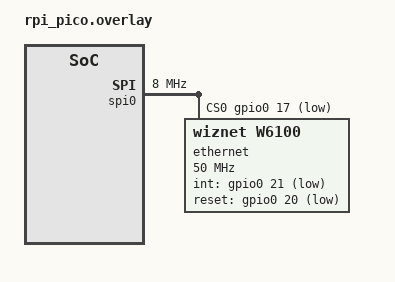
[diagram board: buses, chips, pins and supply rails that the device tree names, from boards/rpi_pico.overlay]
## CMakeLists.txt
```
# SPDX-License-Identifier: Apache-2.0

cmake_minimum_required(VERSION 3.20.0)
find_package(Zephyr REQUIRED HINTS $ENV{ZEPHYR_BASE})
project(EscapeRoom)

target_include_directories(app PRIVATE ${ZEPHYR_BASE}/drivers/input)


target_include_directories(app PRIVATE inc)
FILE(GLOB app_sources src/*.c src/*.cpp)
# target_sources(app PRIVATE src/main.c)
target_sources(app PRIVATE ${app_sources})
# target_sources(app PRIVATE src/usart.c src/queues.c)

#optimizain disable begin
# add_library(set-app-flags INTERFACE)
# target_compile_options(set-app-flags INTERFACE -O0)
# target_link_libraries(app PRIVATE set-app-flags)
#optimizain disable end

#begin for dns resolver
include(${ZEPHYR_BASE}/samples/net/common/common.cmake)
#end for dns resolver
#begin for usb
include(${ZEPHYR_BASE}/samples/subsys/usb/common/common.cmake)
#end for usb
# list(REMOVE_ITEM app_sources ${CMAKE_CURRENT_SOURCE_DIR}/src/unwanted_file.cpp)

#begin rgb driver

# zephyr_library_sources_ifdef(CONFIG_TCS34725		${CMAKE_CURRENT_SOURCE_DIR}/drivers/tcs34725.c)
# zephyr_include_directories(include)

add_subdirectory(drivers)
#end rgb driver

#begin mcuboot
# set(mcuboot_DTC_OVERLAY_FILE ${CMAKE_CURRENT_SOURCE_DIR}/boards/${BOARD}.overlay)
# zephyr_include_directories(${ZEPHYR_BASE}/subsys/dfu)
#end mcuboot
```

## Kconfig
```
menu "Escape Room"
config INPUT_KBD_DRIVE_COLUMN_HOOK
	default n

config MQTT_SUB_TOPIC
	string "MQTT subscribe topic"
	default "subscribe/escapeRoom"


config NET_SAMPLE_APP_MAX_ITERATIONS
	int "Number of times to Publish sample MQTT messages"
	default 500
	help
	  Send sample MQTT messages this many times in a MQTT connection
	  before exiting. A value of zero means that the messages are sent
	  forever.

config NET_SAMPLE_APP_MAX_CONNECTIONS
	int "Number of times to connect to the MQTT server"
	default 0
	help
	  Number of times to connect to the MQTT server. With each connection
	  send NET_SAMPLE_APP_MAX_ITERATIONS amount of MQTT sample messages.
	  A value of zero means to continue forever.

config SHIELD_BUYDISPLAY_3_5_TFT_TOUCH_ARDUINO
	def_bool $(shields_list_contains,buydisplay_3_5_tft_touch_arduino)

endmenu
# source "samples/subsys/usb/common/Kconfig.sample_usbd"
source "Kconfig.zephyr"
rsource "drivers/Kconfig"
# source "drivers/tcs34725/Kconfig"
```

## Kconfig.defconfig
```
# Copyright (c) 2020 Teslabs Engineering S.L.
# SPDX-License-Identifier: Apache-2.0

if SHIELD_BUYDISPLAY_3_5_TFT_TOUCH_ARDUINO

if DISPLAY

if INPUT

# NOTE: Enable if IRQ line is available (requires to solder jumper)
config INPUT_FT5336_INTERRUPT
	default n

endif # INPUT

if LVGL

config LV_Z_VDB_SIZE
	default 32

config LV_Z_BITS_PER_PIXEL
	default 24

choice LV_COLOR_DEPTH
	default LV_COLOR_DEPTH_16
endchoice

config INPUT
	default y

endif # LVGL

endif # DISPLAY

endif # SHIELD_BUYDISPLAY_3_5_TFT_TOUCH_ARDUINO
```

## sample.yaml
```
sample:
  name: ISO-TP sample
tests:
  sample.subsys.canbus.isotp:
    tags:
      - can
      - isotp
    depends_on: can
    filter: dt_chosen_enabled("zephyr,canbus") and not dt_compat_enabled("kvaser,pcican")
    extra_configs:
      - CONFIG_SAMPLE_LOOPBACK_MODE=y
    harness: console
    harness_config:
      type: one_line
      regex:
        - "(.*)Got 247 bytes in total"
  sample.subsys.canbus.isotp.fd:
    tags:
      - can
      - isotp
    depends_on: can
    extra_configs:
      - CONFIG_SAMPLE_LOOPBACK_MODE=y
      - CONFIG_SAMPLE_CAN_FD_MODE=y
    platform_allow:
      - native_posix
      - native_posix_64
      - native_sim
      - native_sim_64
    harness: console
    harness_config:
      type: one_line
      regex:
        - "(.*)Got 247 bytes in total"
```

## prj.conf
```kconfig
CONFIG_STDOUT_CONSOLE=y
CONFIG_LOG=y
CONFIG_LOG_MODE_IMMEDIATE=y
CONFIG_THREAD_ANALYZER=y
# CONFIG_THREAD_ANALYZER_AUTO=y
# CONFIG_THREAD_ANALYZER_AUTO_INTERVAL=5
# CONFIG_THREAD_ANALYZER_AUTO_STACK_SIZE=4096
CONFIG_THREAD_NAME=y
# CONFIG_MAIN_THREAD_PRIORITY=1
CONFIG_MAIN_STACK_SIZE=4096
# CONFIG_MAIN_STACK_SIZE=2048

# Enable IPv6 support
CONFIG_NET_IPV6=n
# Enable IPv4 support
CONFIG_NET_IPV4=y

# Networking and MQTT
CONFIG_NETWORKING=y
CONFIG_NET_SOCKETS=y
CONFIG_NET_TCP=y
CONFIG_NET_LOG=y

# Enable the MQTT Lib
CONFIG_MQTT_LIB=y

CONFIG_NET_CONFIG_SETTINGS=n

# For IPv6
CONFIG_NET_BUF_DATA_SIZE=256

CONFIG_NET_SHELL=y

CONFIG_ENTROPY_GENERATOR=y
CONFIG_TEST_RANDOM_GENERATOR=y

# DHCP configurations
CONFIG_NET_UDP=y
CONFIG_NET_DHCPV4=y
CONFIG_NET_DHCPV4_OPTION_CALLBACKS=y

CONFIG_INIT_STACKS=y
CONFIG_NET_MGMT_EVENT_INFO=y
CONFIG_NET_MGMT=y
CONFIG_NET_MGMT_EVENT_STACK_SIZE=2048
CONFIG_NET_MGMT_EVENT=y
CONFIG_SLIP_STATISTICS=n

# # DNS resolver configurations
# CONFIG_ZVFS_POLL_MAX=5
# CONFIG_ZVFS_OPEN_MAX=8
# ##########################################
# # Enable the DNS resolver
# CONFIG_DNS_RESOLVER=y
# # Enable additional buffers
# CONFIG_DNS_RESOLVER_ADDITIONAL_BUF_CTR=5
# # Enable additional queries
# CONFIG_DNS_RESOLVER_ADDITIONAL_QUERIES=2
# # Enable mDNS support
# CONFIG_MDNS_RESOLVER=y
# # Enable LLMNR support
# CONFIG_LLMNR_RESOLVER=n
# CONFIG_DNS_RESOLVER_MAX_SERVERS=2
# CONFIG_DNS_SERVER_IP_ADDRESSES=y
# CONFIG_DNS_NUM_CONCUR_QUERIES=5
# CONFIG_NET_SOCKETS_SERVICE_STACK_SIZE=2048

# General configurations
CONFIG_STACK_SENTINEL=y
CONFIG_NET_SOCKETS_POLL_MAX=4
CONFIG_POSIX_API=y
CONFIG_REQUIRES_FULL_LIBC=y
CONFIG_SYSTEM_WORKQUEUE_STACK_SIZE=4096
CONFIG_KERNEL_MEM_POOL=y
# CONFIG_HEAP_MEM_POOL_SIZE= 60000
# CONFIG_HEAP_MEM_POOL_SIZE=31744
# CONFIG_HEAP_MEM_POOL_SIZE= 45056

# CONFIG_CONSOLE_INIT_PRIORITY=40
# CONFIG_SERIAL_INIT_PRIORITY=40

# Configurations for shell and tracing
CONFIG_SHELL_STACK_SIZE=2048
CONFIG_IDLE_STACK_SIZE=1500

# JSON library
# CONFIG_JSON_LIBRARY=y

# Enable C++ support
CONFIG_CPP=y
CONFIG_REQUIRES_FULL_LIBCPP=y

# PWM driver
CONFIG_PWM=y
CONFIG_PWM_LOG_LEVEL_DBG=y

# Input device configuration
CONFIG_INPUT=y
CONFIG_INPUT_MODE_THREAD=y
CONFIG_INPUT_THREAD_STACK_SIZE=2048
# CONFIG_INPUT_MODE_SYNCHRONOUS=y

# Display configurations

CONFIG_LV_Z_AUTO_INIT=n
CONFIG_LV_Z_SHELL=y
CONFIG_DISPLAY=y
CONFIG_DISPLAY_LOG_LEVEL_DBG=n
# CONFIG_LV_LOG_LEVEL=3
CONFIG_LV_LOG_PRINTF=y
CONFIG_LVGL=y
CONFIG_LV_USE_LOG=n
CONFIG_LV_USE_IMAGE=y
CONFIG_LV_Z_MEM_POOL_SIZE=16384
CONFIG_LV_FONT_DEFAULT_MONTSERRAT_48=y
CONFIG_LV_FONT_MONTSERRAT_30=y
# CONFIG_SYS_HEAP_RUNTIME_STATS=y


#sd card begin

CONFIG_FILE_SYSTEM=y
# CONFIG_FILE_SYSTEM_EXT2=y

CONFIG_FAT_FILESYSTEM_ELM=y


CONFIG_DISK_ACCESS=y
CONFIG_DISK_DRIVER_SDMMC=y
# First block of first partition after GPT


# CONFIG_FS_FATFS_EXFAT=y

#sd card end

# Flash and memory configurations
CONFIG_FLASH=y
CONFIG_NVS=y
CONFIG_NVS_LOG_LEVEL_DBG=y
CONFIG_REBOOT=y
CONFIG_MPU_ALLOW_FLASH_WRITE=y


# Hardware information
CONFIG_HWINFO=y

# LED strip
CONFIG_LED_STRIP=y
CONFIG_GPIO=y

# GPIO key input
CONFIG_INPUT_GPIO_KEYS=y

# Sensor configuration
CONFIG_SENSOR=y

# General LED support
CONFIG_LED=y

# ADC driver
CONFIG_ADC=y

# HX711 ADC
# CONFIG_HX711=y

# Network configuration
CONFIG_NET_MAX_CONN=8

# I2C multiplexer
CONFIG_I2C=y
CONFIG_I2C_TCA954X=y
CONFIG_I2C_TCA954X_ROOT_INIT_PRIO= 80
CONFIG_I2C_TCA954X_CHANNEL_INIT_PRIO=82



CONFIG_THREAD_STACK_INFO=y
CONFIG_THREAD_MONITOR=y
CONFIG_INIT_STACKS=y


CONFIG_LOG_MODE_IMMEDIATE=y
CONFIG_THREAD_NAME=y
CONFIG_DEBUG=y


# CONFIG_I2C_LOG_LEVEL_DBG=y


#sn74hc595 shift register begin
CONFIG_SPI=y
CONFIG_GPIO_595=y
#sn74hc595 shift register end


#watch dog begin
CONFIG_WATCHDOG=y
CONFIG_WDT_DISABLE_AT_BOOT=y
#watch dog end

#pca9685 begin
CONFIG_I2C=y
CONFIG_I2C_ESP32=y
CONFIG_PWM=y
CONFIG_PWM_PCA9685=y
#pca end


#begin mcuboot dfu
# CONFIG_MCUBOOT_SIGNATURE_KEY_FILE="zephyr/EscapeRoom/CCM-rsa-2048.pem"
# CONFIG_MCUBOOT_GENERATE_CONFIRMED_IMAGE=y
# CONFIG_MCUBOOT_EXTRA_IMGTOOL_ARGS="--align 4"
# CONFIG_MCUBOOT_GENERATE_UNSIGNED_IMAGE=n

# CONFIG_FLASH=y
# CONFIG_FLASH_MAP=y
# CONFIG_IMG_MANAGER=y
# CONFIG_IMG_ERASE_PROGRESSIVELY=y
# CONFIG_BOOTLOADER_MCUBOOT=y  # If using MCUboot
# CONFIG_IMG_ENABLE_IMAGE_CHECK=y

# CONFIG_MCUBOOT_IMG_MANAGER=y
# CONFIG_IMG_MANAGER=y
# CONFIG_BOOTLOADER_MCUBOOT=y
# CONFIG_IMG_ERASE_PROGRESSIVELY=y
# CONFIG_IMG_BLOCK_BUF_SIZE=512

# CONFIG_STREAM_FLASH=y
#end mcuboot dfu


#begin http client
CONFIG_HTTP_CLIENT=y

# CONFIG_ZVFS_POLL_MAX=5
# # Network buffers
# CONFIG_NET_PKT_RX_COUNT=16
CONFIG_NET_PKT_TX_COUNT=20
# CONFIG_NET_BUF_RX_COUNT=128
CONFIG_NET_BUF_TX_COUNT=128
CONFIG_NET_CONTEXT_NET_PKT_POOL=y
CONFIG_NET_TX_STACK_SIZE=2048
# CONFIG_LOG=y
# CONFIG_NET_LOG=y
# CONFIG_NET_SOCKETS_LOG_LEVEL_DBG=n
# CONFIG_NET_HTTP_LOG_LEVEL_DBG=n
#end http client



#begin vl6180x
# CONFIG_VL6180X=y
# CONFIG_VL6180X_PROXIMITY_THRESHOLD=100
# CONFIG_VL53L0X=y
# CONFIG_VL53L0X_PROXIMITY_THRESHOLD=100
CONFIG_CBPRINTF_FP_SUPPORT=y
#end vl6180x
CONFIG_FAULT_DUMP=2
CONFIG_EXCEPTION_STACK_TRACE=y
```

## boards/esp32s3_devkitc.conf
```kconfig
CONFIG_I2S=y

# CONFIG_ESP_SPIRAM=y
CONFIG_WIFI=y

CONFIG_NET_L2_WIFI_MGMT=y
# CONFIG_ESP_WIFI_HEAP_SPIRAM=y
# CONFIG_ESP32_WIFI_NET_ALLOC_SPIRAM=y
CONFIG_HEAP_MEM_POOL_SIZE=60000
# CONFIG_SMP=y
# CONFIG_LOG_BUFFER_SIZE=8192
# CONFIG_LOG_PROCESS_THREAD_STACK_SIZE=4096
# CONFIG_NO_OPTIMIZATIONS=y

# CONFIG_NET_ARP=y
# CONFIG_NET_L2_ETHERNET=y
# CONFIG_ESP_SPIRAM=y
```

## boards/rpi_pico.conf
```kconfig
# Ethernet-specific configurations
CONFIG_NET_ARP=y
CONFIG_NET_L2_ETHERNET=y

# Ethernet driver stack
# CONFIG_ETH_W5500_RX_THREAD_STACK_SIZE=2048
CONFIG_ETH_W6100_RX_THREAD_STACK_SIZE=2048

CONFIG_ETHERNET_LOG_LEVEL_DBG=y


CONFIG_HEAP_MEM_POOL_SIZE= 32768
CONFIG_UDC_RPI_PICO_STACK_SIZE=1524

CONFIG_UDC_RPI_PICO_THREAD_PRIORITY=1

#usb cdc begin
CONFIG_USB_DEVICE_STACK_NEXT=y
CONFIG_USBD_THREAD_STACK_SIZE=2548
# CONFIG_USBD_THREAD_INIT_PRIO=60
CONFIG_STDOUT_CONSOLE=y
CONFIG_SERIAL=y
CONFIG_UART_LINE_CTRL=y
CONFIG_USBD_CDC_ACM_CLASS=y

CONFIG_LOG=y
CONFIG_USBD_LOG_LEVEL_WRN=y
CONFIG_UDC_DRIVER_LOG_LEVEL_WRN=y
CONFIG_USB_DEVICE_PID=0x0004
CONFIG_USB_DEVICE_PRODUCT="Zephyr USB console sample"
#usb cdc end
```

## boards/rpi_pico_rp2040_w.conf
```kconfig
# Wi-Fi-specific configurations
CONFIG_WIFI=y
CONFIG_WIFI_AIROC=y
CONFIG_NET_L2_WIFI_MGMT=y

# CONFIG_AIROC_WIFI_BUS_SPI=y
CONFIG_UDC_RPI_PICO_STACK_SIZE=1524

CONFIG_UDC_RPI_PICO_THREAD_PRIORITY=1

#usb cdc begin
CONFIG_USB_DEVICE_STACK_NEXT=y
CONFIG_USBD_THREAD_STACK_SIZE=2548
# CONFIG_USBD_THREAD_INIT_PRIO=60
CONFIG_STDOUT_CONSOLE=y
CONFIG_SERIAL=y
CONFIG_UART_LINE_CTRL=y
CONFIG_USBD_CDC_ACM_CLASS=y

CONFIG_HEAP_MEM_POOL_SIZE= 32768
CONFIG_LOG=y
CONFIG_USBD_LOG_LEVEL_WRN=y
CONFIG_UDC_DRIVER_LOG_LEVEL_WRN=y
CONFIG_USB_DEVICE_PID=0x0004
CONFIG_USB_DEVICE_PRODUCT="Zephyr USB console sample"
#usb cdc end
```

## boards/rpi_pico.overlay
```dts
#include "common.overlay"
/{
	aliases{
		built-in-led = &led0;
	};

};
&spi0 {
	clock-frequency = <DT_FREQ_M(8)>;
	status = "okay";
	pinctrl-0 = <&spi0_default>;
	pinctrl-names = "default";
	cs-gpios = <&gpio0 17 GPIO_ACTIVE_LOW>;

	ethernet: w6100@0 {
		compatible = "wiznet,w6100";
		reg = <0x0>;
		spi-max-frequency = <50000000>;
		int-gpios = <&gpio0 21 GPIO_ACTIVE_LOW>;
		reset-gpios = <&gpio0 20 GPIO_ACTIVE_LOW>;
		// local-mac-address = [00 00 00 01 02 03];
		zephyr,random-mac-address;
		status = "okay";
	};
};
```

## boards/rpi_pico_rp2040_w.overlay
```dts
#include "common.overlay"

/{

};
```

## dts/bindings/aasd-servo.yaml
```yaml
description: PWM-driven AASD motor driver.

compatible: "aasd-servo"

include: base.yaml

properties:
  pwms:
    required: true
    type: phandle-array
    description: PWM specifier driving the servo motor.

  pd-gpios:
    required: true
    type: phandle-array
    description: |
      GPIOs connected to the controller direction pins. The first index corresponds to PD+ and the second one corresponds to the PD-.

  enable-gpios:
    required: true
    type: phandle-array
    description: |
      GPIO connectedto the enable pins.
  
  set-zero-speed-gpios:
    required: false
    type: phandle-array
    description: |
      GPIO force the servo to stop.
  
  read-zero-speed-gpios:
    required: false
    type: phandle-array
    description: |
      GPIO indicating full servo stop.

  ready-gpios:
    required: false
    type: phandle-array
    description: |
      when the servo is ready, this pin gets high.
  
  pulse-round:
    required: true
    type: int
    description: Number of pulses per round.
  
  max-frequency:
    required: true
    type: int
    description: Maximum frequency in Hz.
  min-frequency:
    required: true
    type: int
    description: Minimum frequency in Hz.
  pulse-width:
    required: true
    type: int
    description: Minimum pulse width in each period in nanosecond.
```

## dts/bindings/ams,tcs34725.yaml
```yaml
description: I2C driver for COLOR LIGHT-TO-DIGITAL CONVERTER with IR FILTER module.

compatible: "ams,tcs34725"

include: [i2c-device.yaml]

properties:
  int-gpios:
    required: false 
    type: phandle-array
    description: |
      GPIO connected to the controller IRQ pin. This pin is active-low.

  led-gpios:
    required: false 
    type: phandle-array
    description: |
      GPIO connected to the controller RST pin. This pin is active-low.
```

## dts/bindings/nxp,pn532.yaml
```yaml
description: I2C driver for PN532 NFC and RFID module.

compatible: "nxp,pn532"

include: [i2c-device.yaml]

properties:
  int-gpios:
    required: false 
    type: phandle-array
    description: |
      GPIO connected to the controller IRQ pin. This pin is active-low.

  reset-gpios:
    required: true
    type: phandle-array
    description: |
      GPIO connected to the controller RST pin. This pin is active-low.
      
```

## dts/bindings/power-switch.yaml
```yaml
description: GPIO pin to switch a power output on or off

compatible: "power-switch"

properties:
  gpios:
    type: phandle-array
    required: true
    description: |
      The GPIO connected to the gate driver for the MOSFET or relay.
```

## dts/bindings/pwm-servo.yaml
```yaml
# Copyright (c) 2022 Nordic Semiconductor ASA
# SPDX-License-Identifier: Apache-2.0

description: PWM-driven servo motor.

compatible: "pwm-servo"

include: base.yaml

properties:
  pwms:
    required: true
    type: phandle-array
    description: PWM specifier driving the servo motor.

  min-pulse:
    required: true
    type: int
    description: Minimum pulse width (nanoseconds).

  max-pulse:
    required: true
    type: int
    description: Maximum pulse width (nanoseconds).
    
  max-degrees:
    required: true
    type: int
    description: Maximum possible rotating in degrees.
```

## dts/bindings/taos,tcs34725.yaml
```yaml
description: I2C driver for COLOR LIGHT-TO-DIGITAL CONVERTER with IR FILTER module.

compatible: "taos,tcs34725"

include: [i2c-device.yaml]

properties:
  int-gpios:
    required: false 
    type: phandle-array
    description: |
      GPIO connected to the controller IRQ pin. This pin is active-low.

  led-gpios:
    required: false 
    type: phandle-array
    description: |
      GPIO connected to the controller RST pin. This pin is active-low.
```

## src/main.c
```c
#include "main.h"




#include <zephyr/kernel.h>
#include <zephyr/sys/printk.h>
#include <zephyr/device.h>
#include <zephyr/drivers/pwm.h>

LOG_MODULE_REGISTER(main, LOG_LEVEL_INF);

// static const struct pwm_dt_spec pwm_led0 = PWM_DT_SPEC_GET(DT_NODELABEL(motherboard_audio_speaker));
// #define MIN_PERIOD PWM_SEC(1U) / 128U
// #define MAX_PERIOD PWM_SEC(1U)


void i2cScanner();

void test(void) {
	    struct net_if *iface = net_if_get_default();
    if (iface) {
        printk("Default iface: %s\n", iface->if_dev->dev->name);
    } else {
        printk("No default interface found!\n");
    }
   	// uint32_t max_period;
	// uint32_t period;
	// uint8_t dir = 0U;
	// int ret;

	// printk("PWM-based blinky\n");

	// if (!pwm_is_ready_dt(&pwm_led0)) {
	// 	printk("Error: PWM device %s is not ready\n",
	// 	       pwm_led0.dev->name);
	// 	return 0;
	// }

	// /*
	//  * In case the default MAX_PERIOD value cannot be set for
	//  * some PWM hardware, decrease its value until it can.
	//  *
	//  * Keep its value at least MIN_PERIOD * 4 to make sure
	//  * the sample changes frequency at least once.
	//  */
	// printk("Calibrating for channel %d...\n", pwm_led0.channel);
	// max_period = MAX_PERIOD;
	// while (pwm_set_dt(&pwm_led0, max_period, max_period / 2U)) {
	// 	max_period /= 2U;
	// 	if (max_period < (4U * MIN_PERIOD)) {
	// 		printk("Error: PWM device "
	// 		       "does not support a period at least %lu\n",
	// 		       4U * MIN_PERIOD);
	// 		return 0;
	// 	}
	// }

	// printk("Done calibrating; maximum/minimum periods %u/%lu nsec\n",
	//        max_period, MIN_PERIOD);

	// period = max_period;
	// while (1) {
	// 	ret = pwm_set_dt(&pwm_led0, period, period / 2U);
	// 	if (ret) {
	// 		printk("Error %d: failed to set pulse width\n", ret);
	// 		return 0;
	// 	}
	// 	printk("Using period %d\n", period);

	// 	period = dir ? (period * 2U) : (period / 2U);
	// 	if (period > max_period) {
	// 		period = max_period / 2U;
	// 		dir = 0U;
	// 	} else if (period < MIN_PERIOD) {
	// 		period = MIN_PERIOD * 2U;
	// 		dir = 1U;
	// 	}

	// 	k_sleep(K_SECONDS(4U));
	// }
	// return 0;
}

// struct mqtt_topic deviceId_topic = {0};
extern void puzzleThreadCreate();
char deviceId[17]; // Each byte is 2 hex digits, plus null terminator
uint8_t devId[8];
char deviceIdPub[32];
void readingHWinfo(char *idStr);

#if defined(CONFIG_USB_DEVICE_STACK_NEXT)
static struct usbd_context *sample_usbd;

static int enable_usb_device_next(void)
{
	int err;

	sample_usbd = sample_usbd_init_device(NULL);
	if (sample_usbd == NULL) {
		return -ENODEV;
	}

	err = usbd_enable(sample_usbd);
	if (err) {
		return err;
	}

	return 0;
}
SYS_INIT(enable_usb_device_next, APPLICATION, 50);
#endif /* defined(CONFIG_USB_DEVICE_STACK_NEXT) */


int wdt_channel_id;
const struct device *const wdt = DEVICE_DT_GET(DT_ALIAS(watchdog0));


int main()
{
    LOG_INF("besme allah");
    readingHWinfo(deviceId);
    LOG_INF("Device ID: %s", deviceId);
   test();
    puzzleThreadCreate();

}

void i2cScanner()
{

    const struct device *i2c_dev;
    uint8_t addr;
    int ret;
    device_init(DEVICE_DT_GET(DT_NODELABEL(i2c0)));
    i2c_dev = DEVICE_DT_GET(DT_NODELABEL(i2c0));
    if (!i2c_dev) {
        printf("Error: I2C device not found\n");
        return;
    }

    printf("Scanning I2C bus...\n");
    struct MqttMsg mqtt = {0};
    strcpy(mqtt.topic, "pub/");
    strcat(mqtt.topic, deviceId);
    bool deviceFound = false;
    while (1)
    {

        deviceFound = false;
        for (addr = 1; addr < 128; addr++) {
            struct i2c_msg msg;
            uint8_t dummy_data = 0;

            msg.buf = &dummy_data;
            msg.len = 1;
            msg.flags = I2C_MSG_WRITE | I2C_MSG_STOP;

            ret = i2c_transfer(i2c_dev, &msg, 1, addr);

            if (ret == 0) {
                printf("Device found at address 0x%02X\n", addr);
                sprintf(mqtt.msg, "Device found at address 0x%02X\n", addr);
                k_msgq_put(&msqSendToMQTT, &mqtt, K_NO_WAIT);
                deviceFound = true;
            }
        }
        if(!deviceFound)
        {
            sprintf(mqtt.msg, "device not found.");
            k_msgq_put(&msqSendToMQTT, &mqtt, K_NO_WAIT);
            LOG_INF("device not found.");

        }
        k_msleep(4000);
    }
}

// void test()
// {
//     // struct MqttMsg mg = {0};
//     // sprintf(msg.msg, "Button 0 pressed");

//    i2cScanner();
//     while(1)
//     {

//         k_msleep(1000);

//     }
// }


void readingHWinfo(char *idStr)
{
    ssize_t length;

    length = hwinfo_get_device_id(devId, sizeof(devId));

    if (length > 0) {
        // LOG_PRINTK("Device ID: ");
        for (int i = 0; i < length; i++) {
            // LOG_PRINTK("%02x", id[i]);
            sprintf(&idStr[i * 2], "%02x", devId[i]);
        }
        idStr[2 * length] = '\0';
        // LOG_PRINTK("\n");
    } else {
        LOG_PRINTK("Failed to read device ID\n");
    }
}
```

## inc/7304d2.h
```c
#ifndef __730D2__H__
#define __730D2__H__


#ifdef __cplusplus
extern "C" {
#endif




#ifdef __cplusplus
}
#endif
#endif
```

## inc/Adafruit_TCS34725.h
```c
/*!
 *  @file Adafruit_TCS34725.h
 *
 *  Software License Agreement (BSD License)
 *
 *  Copyright (c) 2013, Adafruit Industries
 *  All rights reserved.
 *
 *  Redistribution and use in source and binary forms, with or without
 *  modification, are permitted provided that the following conditions are
 *  met:
 *  1. Redistributions of source code must retain the above copyright
 *  notice, this list of conditions and the following disclaimer.
 *  2. Redistributions in binary form must reproduce the above copyright
 *  notice, this list of conditions and the following disclaimer in the
 *  documentation and/or other materials provided with the distribution.
 *  3. Neither the name of the copyright holders nor the
 *  names of its contributors may be used to endorse or promote products
 *  derived from this software without specific prior written permission.
 *
 *  THIS SOFTWARE IS PROVIDED BY THE COPYRIGHT HOLDERS ''AS IS'' AND ANY
 *  EXPRESS OR IMPLIED WARRANTIES, INCLUDING, BUT NOT LIMITED TO, THE IMPLIED
 *  WARRANTIES OF MERCHANTABILITY AND FITNESS FOR A PARTICULAR PURPOSE ARE
 *  DISCLAIMED. IN NO EVENT SHALL THE COPYRIGHT HOLDER BE LIABLE FOR ANY
 *  DIRECT, INDIRECT, INCIDENTAL, SPECIAL, EXEMPLARY, OR CONSEQUENTIAL DAMAGES
 *  (INCLUDING, BUT NOT LIMITED TO, PROCUREMENT OF SUBSTITUTE GOODS OR
 *  SERVICES; LOSS OF USE, DATA, OR PROFITS; OR BUSINESS INTERRUPTION) HOWEVER
 *  CAUSED AND ON ANY THEORY OF LIABILITY, WHETHER IN CONTRACT, STRICT
 *  LIABILITY, OR TORT (INCLUDING NEGLIGENCE OR OTHERWISE) ARISING IN ANY WAY
 *  OUT OF THE USE OF THIS SOFTWARE, EVEN IF ADVISED OF THE POSSIBILITY OF SUCH
 *  DAMAGE.
 */
#ifndef _TCS34725_H_
#define _TCS34725_H_


#define TCS34725_ADDRESS (0x29)     /**< I2C address **/
#define TCS34725_COMMAND_BIT (0x80) /**< Command bit **/
#define TCS34725_ENABLE (0x00)      /**< Interrupt Enable register */
#define TCS34725_ENABLE_AIEN (0x10) /**< RGBC Interrupt Enable */
#define TCS34725_ENABLE_WEN                                                    \
  (0x08) /**< Wait Enable - Writing 1 activates the wait timer */
#define TCS34725_ENABLE_AEN                                                    \
  (0x02) /**< RGBC Enable - Writing 1 actives the ADC, 0 disables it */
#define TCS34725_ENABLE_PON                                                    \
  (0x01) /**< Power on - Writing 1 activates the internal oscillator, 0        \
            disables it */
#define TCS34725_ATIME (0x01) /**< Integration time */
#define TCS34725_WTIME                                                         \
  (0x03) /**< Wait time (if TCS34725_ENABLE_WEN is asserted) */
#define TCS34725_WTIME_2_4MS (0xFF) /**< WLONG0 = 2.4ms   WLONG1 = 0.029s */
#define TCS34725_WTIME_204MS (0xAB) /**< WLONG0 = 204ms   WLONG1 = 2.45s  */
#define TCS34725_WTIME_614MS (0x00) /**< WLONG0 = 614ms   WLONG1 = 7.4s   */
#define TCS34725_AILTL                                                         \
  (0x04) /**< Clear channel lower interrupt threshold (lower byte) */
#define TCS34725_AILTH                                                         \
  (0x05) /**< Clear channel lower interrupt threshold (higher byte) */
#define TCS34725_AIHTL                                                         \
  (0x06) /**< Clear channel upper interrupt threshold (lower byte) */
#define TCS34725_AIHTH                                                         \
  (0x07) /**< Clear channel upper interrupt threshold (higher byte) */
#define TCS34725_PERS                                                          \
  (0x0C) /**< Persistence register - basic SW filtering mechanism for          \
            interrupts */
#define TCS34725_PERS_NONE                                                     \
  (0b0000) /**< Every RGBC cycle generates an interrupt */
#define TCS34725_PERS_1_CYCLE                                                  \
  (0b0001) /**< 1 clean channel value outside threshold range generates an     \
              interrupt */
#define TCS34725_PERS_2_CYCLE                                                  \
  (0b0010) /**< 2 clean channel values outside threshold range generates an    \
              interrupt */
#define TCS34725_PERS_3_CYCLE                                                  \
  (0b0011) /**< 3 clean channel values outside threshold range generates an    \
              interrupt */
#define TCS34725_PERS_5_CYCLE                                                  \
  (0b0100) /**< 5 clean channel values outside threshold range generates an    \
              interrupt */
#define TCS34725_PERS_10_CYCLE                                                 \
  (0b0101) /**< 10 clean channel values outside threshold range generates an   \
              interrupt*/
#define TCS34725_PERS_15_CYCLE                                                 \
  (0b0110) /**< 15 clean channel values outside threshold range generates an   \
              interrupt*/
#define TCS34725_PERS_20_CYCLE                                                 \
  (0b0111) /**< 20 clean channel values outside threshold range generates an   \
              interrupt*/
#define TCS34725_PERS_25_CYCLE                                                 \
  (0b1000) /**< 25 clean channel values outside threshold range generates an   \
              interrupt*/
#define TCS34725_PERS_30_CYCLE                                                 \
  (0b1001) /**< 30 clean channel values outside threshold range generates an   \
              interrupt*/
#define TCS34725_PERS_35_CYCLE                                                 \
  (0b1010) /**< 35 clean channel values outside threshold range generates an   \
              interrupt*/
#define TCS34725_PERS_40_CYCLE                                                 \
  (0b1011) /**< 40 clean channel values outside threshold range generates an   \
              interrupt*/
#define TCS34725_PERS_45_CYCLE                                                 \
  (0b1100) /**< 45 clean channel values outside threshold range generates an   \
              interrupt*/
#define TCS34725_PERS_50_CYCLE                                                 \
  (0b1101) /**< 50 clean channel values outside threshold range generates an   \
              interrupt*/
#define TCS34725_PERS_55_CYCLE                                                 \
  (0b1110) /**< 55 clean channel values outside threshold range generates an   \
              interrupt*/
#define TCS34725_PERS_60_CYCLE                                                 \
  (0b1111) /**< 60 clean channel values outside threshold range generates an   \
              interrupt*/
#define TCS34725_CONFIG (0x0D) /**< Configuration **/
#define TCS34725_CONFIG_WLONG                                                  \
  (0x02) /**< Choose between short and long (12x) wait times via               \
            TCS34725_WTIME */
#define TCS34725_CONTROL (0x0F) /**< Set the gain level for the sensor */
#define TCS34725_ID                                                            \
  (0x12) /**< 0x44 = TCS34721/TCS34725, 0x4D = TCS34723/TCS34727 */
#define TCS34725_STATUS (0x13)      /**< Device status **/
#define TCS34725_STATUS_AINT (0x10) /**< RGBC Clean channel interrupt */
#define TCS34725_STATUS_AVALID                                                 \
  (0x01) /**< Indicates that the RGBC channels have completed an integration   \
            cycle */
#define TCS34725_CDATAL (0x14) /**< Clear channel data low byte */
#define TCS34725_CDATAH (0x15) /**< Clear channel data high byte */
#define TCS34725_RDATAL (0x16) /**< Red channel data low byte */
#define TCS34725_RDATAH (0x17) /**< Red channel data high byte */
#define TCS34725_GDATAL (0x18) /**< Green channel data low byte */
#define TCS34725_GDATAH (0x19) /**< Green channel data high byte */
#define TCS34725_BDATAL (0x1A) /**< Blue channel data low byte */
#define TCS34725_BDATAH (0x1B) /**< Blue channel data high byte */

/** Integration time settings for TCS34725 */
/*
 * 60-Hz period: 16.67ms, 50-Hz period: 20ms
 * 100ms is evenly divisible by 50Hz periods and by 60Hz periods
 */
#define TCS34725_INTEGRATIONTIME_2_4MS                                         \
  (0xFF) /**< 2.4ms - 1 cycle - Max Count: 1024 */
#define TCS34725_INTEGRATIONTIME_24MS                                          \
  (0xF6) /**< 24.0ms - 10 cycles - Max Count: 10240 */
#define TCS34725_INTEGRATIONTIME_50MS                                          \
  (0xEB) /**< 50.4ms - 21 cycles - Max Count: 21504 */
#define TCS34725_INTEGRATIONTIME_60MS                                          \
  (0xE7) /**< 60.0ms - 25 cycles - Max Count: 25700 */
#define TCS34725_INTEGRATIONTIME_101MS                                         \
  (0xD6) /**< 100.8ms - 42 cycles - Max Count: 43008 */
#define TCS34725_INTEGRATIONTIME_120MS                                         \
  (0xCE) /**< 120.0ms - 50 cycles - Max Count: 51200 */
#define TCS34725_INTEGRATIONTIME_154MS                                         \
  (0xC0) /**< 153.6ms - 64 cycles - Max Count: 65535 */
#define TCS34725_INTEGRATIONTIME_180MS                                         \
  (0xB5) /**< 180.0ms - 75 cycles - Max Count: 65535 */
#define TCS34725_INTEGRATIONTIME_199MS                                         \
  (0xAD) /**< 199.2ms - 83 cycles - Max Count: 65535 */
#define TCS34725_INTEGRATIONTIME_240MS                                         \
  (0x9C) /**< 240.0ms - 100 cycles - Max Count: 65535 */
#define TCS34725_INTEGRATIONTIME_300MS                                         \
  (0x83) /**< 300.0ms - 125 cycles - Max Count: 65535 */
#define TCS34725_INTEGRATIONTIME_360MS                                         \
  (0x6A) /**< 360.0ms - 150 cycles - Max Count: 65535 */
#define TCS34725_INTEGRATIONTIME_401MS                                         \
  (0x59) /**< 400.8ms - 167 cycles - Max Count: 65535 */
#define TCS34725_INTEGRATIONTIME_420MS                                         \
  (0x51) /**< 420.0ms - 175 cycles - Max Count: 65535 */
#define TCS34725_INTEGRATIONTIME_480MS                                         \
  (0x38) /**< 480.0ms - 200 cycles - Max Count: 65535 */
#define TCS34725_INTEGRATIONTIME_499MS                                         \
  (0x30) /**< 499.2ms - 208 cycles - Max Count: 65535 */
#define TCS34725_INTEGRATIONTIME_540MS                                         \
  (0x1F) /**< 540.0ms - 225 cycles - Max Count: 65535 */
#define TCS34725_INTEGRATIONTIME_600MS                                         \
  (0x06) /**< 600.0ms - 250 cycles - Max Count: 65535 */
#define TCS34725_INTEGRATIONTIME_614MS                                         \
  (0x00) /**< 614.4ms - 256 cycles - Max Count: 65535 */

#include <zephyr/kernel.h>
#include <zephyr/drivers/i2c.h>
#include "myArduino.h"
#include <zephyr/logging/log.h>
#include "utils.h"

/** Gain settings for TCS34725  */
typedef enum {
  TCS34725_GAIN_1X = 0x00,  /**<  No gain  */
  TCS34725_GAIN_4X = 0x01,  /**<  4x gain  */
  TCS34725_GAIN_16X = 0x02, /**<  16x gain */
  TCS34725_GAIN_60X = 0x03  /**<  60x gain */
} tcs34725Gain_t;

/*!
 *  @brief  Class that stores state and functions for interacting with
 *          TCS34725 Color Sensor
 */
class Adafruit_TCS34725 {
public:
  Adafruit_TCS34725(const struct i2c_dt_spec *i2cDev, uint8_t = TCS34725_INTEGRATIONTIME_2_4MS,
                    tcs34725Gain_t = TCS34725_GAIN_1X);

  boolean begin();
  boolean init();

  void setIntegrationTime(uint8_t it);
  void setGain(tcs34725Gain_t gain);
  void getRawData(uint16_t *r, uint16_t *g, uint16_t *b, uint16_t *c);
  void getRGB(float *r, float *g, float *b);
  void getRawDataOneShot(uint16_t *r, uint16_t *g, uint16_t *b, uint16_t *c);
  uint16_t calculateColorTemperature(uint16_t r, uint16_t g, uint16_t b);
  uint16_t calculateColorTemperature_dn40(uint16_t r, uint16_t g, uint16_t b,
                                          uint16_t c);
  uint16_t calculateLux(uint16_t r, uint16_t g, uint16_t b);
  void write8(uint8_t reg, uint8_t value);
  uint8_t read8(uint8_t reg);
  uint16_t read16(uint8_t reg);
  void setInterrupt(boolean flag);
  void clearInterrupt();
  void setIntLimits(uint16_t l, uint16_t h);
  void enable();
  void disable();

private:
  const struct i2c_dt_spec *i2c_dev = NULL;
  boolean _tcs34725Initialised;
  tcs34725Gain_t _tcs34725Gain;
  uint8_t _tcs34725IntegrationTime;
};

#endif
```

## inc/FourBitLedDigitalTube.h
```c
#ifndef FOUR_BIT_LED_DIGITAL_TUBE_H
#define FOUR_BIT_LED_DIGITAL_TUBE_H

#include <zephyr/kernel.h>
#include <zephyr/device.h>
#include <zephyr/drivers/gpio.h>
#include <string>
#include <stdint.h>

class TM74HC595LedTube {
public:
    // Static variables
    static uint8_t _displaysCount;
    static uint8_t _dspPtrArrLngth;
    static TM74HC595LedTube** _instancesLstPtr;
    static bool _intRfrshSrvcStrtd;

protected:
    // GPIO pins and devices
    const struct device *sclk_dev;
    const struct device *rclk_dev;
    const struct device *dio_dev;
    gpio_pin_t sclk_pin;
    gpio_pin_t rclk_pin;
    gpio_pin_t dio_pin;

    // Display configuration
    bool comm_anode;
    uint8_t dsp_digits;
    uint8_t *digit_pos_ptr;
    uint8_t *digit_ptr;
    bool *blink_mask_ptr;

    // Blink state
    bool blinking = false;
    bool blink_show_on = false;
    uint32_t blink_off_rate = 500;
    uint32_t blink_on_rate = 500;
    uint32_t blink_timer = 0;

    // Wait state
    bool waiting = false;
    uint32_t wait_rate = 500;
    uint32_t wait_timer = 0;
    uint8_t wait_count = 0;

    // Display attributes
    long _dspValMin;           // Minimum value displayable
    long _dspValMax;           // Maximum value displayable
    std::string _zeroPadding;  // Padding for zero alignment
    std::string _spacePadding; // Padding for space alignment
    uint8_t _waitChar;         // Character to display during wait
    uint8_t _space;            // Character for blank space
    uint8_t _dot;              // Character for dot/decimal point

    // Character set for the display
    const char *char_set = "0123456789AabCcdEeFGHhIiJLlnOoPqrStUuY-_=~* .";
    uint8_t char_leds[45] = {
        0xC0, 0xF9, 0xA4, 0xB0, 0x99, 0x92, 0x82, 0xF8, 0x80, 0x90, 0x88, 0xA0, 0x83, 0xC6, 0xA7, 0xA1,
        0x86, 0x84, 0x8E, 0xC2, 0x89, 0x8B, 0xF9, 0xFB, 0xF1, 0xC7, 0xCF, 0xAB, 0xC0, 0xA3, 0x8C, 0x98,
        0xAF, 0x92, 0x87, 0xC1, 0xE3, 0x91, 0xBF, 0xF7, 0xB7, 0xB6, 0x9C, 0xFF, 0x7F
    };

    // Helper methods
    void set_attributes();
    void fastSend(uint8_t content);
    void fastSend(const uint8_t &segments, const uint8_t &port);
    void updBlinkState();
    void updWaitState();

public:
    TM74HC595LedTube(const struct device *sclk_dev, gpio_pin_t sclk_pin,
                     const struct device *rclk_dev, gpio_pin_t rclk_pin,
                     const struct device *dio_dev, gpio_pin_t dio_pin,
                     bool commAnode = true, uint8_t dspDigits = 4);
    ~TM74HC595LedTube();

    bool begin();
    bool stop();
    void clear();
    void fastRefresh();
    bool print(const char *text);
    bool blink();
};

// ClickCounter Class
class ClickCounter {
private:
    long count = 0;
    bool count_right_align;
    bool count_zero_pad;
    TM74HC595LedTube display;

public:
    ClickCounter(const struct device *cc_sclk_dev, gpio_pin_t cc_sclk_pin,
                 const struct device *cc_rclk_dev, gpio_pin_t cc_rclk_pin,
                 const struct device *cc_dio_dev, gpio_pin_t cc_dio_pin,
                 bool right_align = true, bool zero_pad = false, bool comm_anode = true, uint8_t dsp_digits = 4);
    ~ClickCounter();

    bool blink();
    bool blink(const uint32_t &on_rate, const uint32_t &off_rate);
    void clear();
    bool countBegin(long start_val);
    bool countUp(long qty);
    bool countDown(long qty);
    bool updateDisplay();
};

#endif
```

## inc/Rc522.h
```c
#ifndef __RC522__H__
#define __RC522__H__


#ifdef __cplusplus
extern "C" {
#endif




#ifdef __cplusplus
}
#endif
#endif
```

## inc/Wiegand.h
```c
#ifndef _WIEGAND_H
#define _WIEGAND_H

#include <zephyr/kernel.h>
#include <zephyr/device.h>
#include <zephyr/drivers/gpio.h>

class WIEGAND {
public:
    WIEGAND(const struct device* gpio_dev_d0, int pin_d0, const struct device* gpio_dev_d1, int pin_d1);  // Constructor initializes pins using overlay
    bool available();
    unsigned long getCode();
    int getWiegandType();
    unsigned long getCardId(volatile unsigned long* codehigh, volatile unsigned long* codelow, char bitlength);

private:
    static void gpioCallbackD0(const struct device* dev, struct gpio_callback* cb, uint32_t pins);
    static void gpioCallbackD1(const struct device* dev, struct gpio_callback* cb, uint32_t pins);
    void processBit(int bit);
    char translateEnterEscapeKeyPress(char originalKeyPress);
    bool doWiegandConversion();

    const struct device* gpio_dev_d0;
    const struct device* gpio_dev_d1;
    struct gpio_callback gpio_cb_d0;
    struct gpio_callback gpio_cb_d1;

    int pin_d0;
    int pin_d1;
    volatile unsigned long _cardTempHigh;
    volatile unsigned long _cardTemp;
    volatile unsigned long _lastWiegand;
    unsigned long _code;
    volatile int _bitCount;
    int _wiegandType;

    struct k_mutex lock;
};

#endif /* _WIEGAND_H */
```

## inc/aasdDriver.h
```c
#ifndef __AASD__H__
#define __AASD__H__

#include "zephyr/kernel.h"
#include "zephyr/logging/log.h"
// #include "messageQueues.h"
#include <stdlib.h>
#include <stdio.h>
#include <zephyr/drivers/pwm.h>
#include <zephyr/device.h>
#include <zephyr/drivers/gpio.h>
#include <zephyr/sys/util.h>
#include <zephyr/devicetree.h>

#include "topics.h"

#define RAMP_DURATION_MS 5000  

#ifdef __cplusplus
extern "C" {
#endif

struct AasdMsg
{
    bool stop;
    bool zeroPosition;
    bool setSpeed;
    uint16_t speed;
};


#ifdef __cplusplus
}
#endif


#ifdef __cplusplus
class Aasd 
{
public:
    Aasd( 
    // Aasd(struct k_msgq *_queueIn, struct k_msgq *_queueOut, 
    const struct pwm_dt_spec *_ppP,
    const struct gpio_dt_spec *_pdP, 
    const struct gpio_dt_spec *_pdN, 
    const struct gpio_dt_spec *_setZeroSpeedPin,
    const struct gpio_dt_spec *_readZeroSpeedPin,
    const struct gpio_dt_spec *_enable,
    const struct gpio_dt_spec *_servoReady,
    const uint16_t _pr, const uint32_t _maxPulseFreq, const uint32_t _minPulseFreq,
    const uint32_t _minPulseWidth);

    Aasd(
    const struct pwm_dt_spec *_ppP,
    const struct gpio_dt_spec *_pdP, 
    const struct gpio_dt_spec *_pdN, 
    const struct gpio_dt_spec *_enable,
    const uint16_t _pr, const uint32_t _maxPulseFreq, const uint32_t _minPulseFreq,
    const uint32_t _minPulseWidth);

    void setZeroPosition();
    void setSpeed(double speed);
    int getPosition();
    int getSpeed();
    void setPosition(int pos);
    static void positionHandler(struct k_timer *timer);
    void forceSpeedZero();

    static Aasd *instance;
    struct k_timer positionTimer;
    struct k_timer speedTimer;

private:
    const struct pwm_dt_spec *ppP;
    const struct gpio_dt_spec *pdP;
    const struct gpio_dt_spec *pdN;
    const struct gpio_dt_spec *setZeroSpeedPin, *readZeroSpeedPin, *enable, *servoReady;
    struct k_msgq *queueIn;
    struct k_msgq *queueOut;
    void setDirection(bool dir);
    void setDirection(int difPos);
    bool getDirection();
    int position = 0;
    bool direction = true;
    void servoInit();
    void commonGpiosInit();
    void aasdGpioInit();
    uint16_t pr;
    uint32_t maxPulseFreq, minPulseFreq, minPulseWidth, deviationInSmoothStart;
    int currentPulseFreq;
    void commonInits();
    bool stop = false;
    uint32_t minStepFreq;
    uint32_t stepNum = 0;
    void movePositionStep(uint32_t timeMS, int movement);
    void accelStep(uint32_t timerDelay, int speedChange, bool forward);
};
#endif
#endif
```

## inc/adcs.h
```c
#ifndef __ADCS__H
#define __ADCS__H


/*adc*/
#include <zephyr/device.h>
#include <zephyr/devicetree.h>
#include <zephyr/drivers/adc.h>
#include <zephyr/kernel.h>
#include <zephyr/sys/util.h>
#include <zephyr/logging/log.h>

class Adcs
{
public:
    Adcs(const struct adc_dt_spec*, uint8_t _numOfAdcs);
    uint16_t readAdc(uint8_t channel);
private:
    const struct adc_dt_spec *adc_channels;
    uint8_t numOfAdcs;
};

#endif
```

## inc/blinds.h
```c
#ifndef __BLINDS__H__
#define __BLINDS__H__



#include "zephyr/kernel.h"
#include "zephyr/logging/log.h"
#include "messageQueues.h"
#include <stdlib.h>
#include <stdio.h>
#include <zephyr/device.h>
#include "topics.h"
#include <zephyr/input/input.h>
#include <zephyr/device.h>
#include <zephyr/drivers/gpio.h>
#include <zephyr/sys/util.h>
#include <zephyr/devicetree.h>
#include "puzzle.h"
#include "servos.h"

class Blinds: public Puzzle 
{
public:
    Blinds(const char * room, const char *type);
    void messageHandler(struct MqttMsg *msg) override;
    void creatingMqttList() override;
    void test() override;

private:
    Servos *servos;



};

#endif 
```

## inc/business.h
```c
#ifndef __BUSINESS__H__
#define __BUSINESS__H__


#ifdef __cplusplus
extern "C" {
#endif




#ifdef __cplusplus
}
#endif
#endif
```

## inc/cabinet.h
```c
#ifndef __CABINET__H__
#define __CABINET__H__



#include "zephyr/kernel.h"
#include "zephyr/logging/log.h"
#include "messageQueues.h"
#include <stdlib.h>
#include <stdio.h>
#include <zephyr/device.h>
#include "topics.h"
#include <zephyr/input/input.h>
#include <zephyr/device.h>
#include <zephyr/drivers/gpio.h>
#include <zephyr/sys/util.h>
#include <zephyr/devicetree.h>
#include "puzzle.h"

class Cabinet: public Puzzle 
{
public:
    Cabinet(const char * room, const char *type);
    void messageHandler(struct MqttMsg *msg) override;
    void creatingMqttList() override;
    void buttonsHandler(struct input_event *val);
    static void buttonsHandlerWrapper(struct input_event *val, void *userData);

private:



};

#endif 
```

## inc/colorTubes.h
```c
#ifndef __colorTubes__H__
#define __colorTubes__H__



#include "zephyr/kernel.h"
#include "zephyr/logging/log.h"
#include "messageQueues.h"
#include <stdlib.h>
#include <stdio.h>
#include <zephyr/device.h>
#include <zephyr/input/input.h>
#include <zephyr/device.h>
#include <zephyr/drivers/gpio.h>
#include <zephyr/sys/util.h>
#include <zephyr/devicetree.h>
#include "puzzle.h"
#include "Adafruit_TCS34725.h"

class colorTubes: public Puzzle 
{
public:
    colorTubes(const char * room, const char *type, uint8_t numRGBsensors);
    void messageHandler(struct MqttMsg *msg) override;
    void creatingMqttList() override;

    struct k_timer rgbSensorTimer;
    struct k_work rgbSensorWork;
    static void rgbSensorTimerHandler(struct k_timer *timer);
    static void rgbSensorWorkHandler(struct k_work *work);

    struct MqttMsg msgReader = {0};
private:
    Adafruit_TCS34725 **rgbsensors;
    uint8_t numRGBsensors; 
};

#endif 
```
